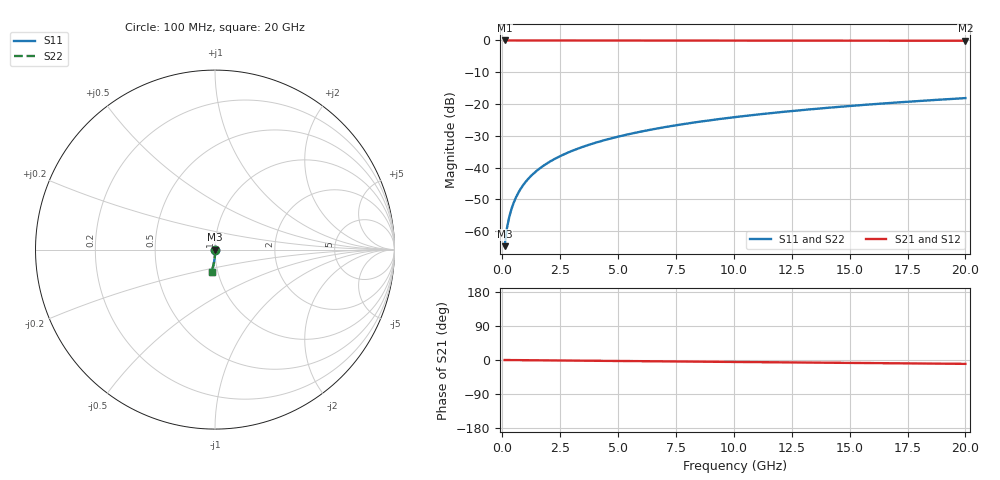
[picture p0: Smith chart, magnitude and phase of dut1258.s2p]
! Touchstone file exported from HFSS 2026.1.0
!  File:  C:/ffzhzh/LocalFiles/Ansys_Project_Files/temp_train_TSV_1258_1783193839_55132.aedt
!  Generated:  03:38:38 AM Jul  5, 2026
!  Design:  TSV
!  Project:  temp_train_TSV_1258_1783193839_55132
! Variables:
!  h_bsmrdl = 2um
!  h_ox = 20um
!  h_rdl = 5um
!  h_sub = 78.91um
!  h_tmrdl = 5um
!  h_tsv = 78.91um
!  h_via = 3um
!  l_bsmrdl = 300um
!  l_sub = 414.8um
!  l_tmrdl = 200um
!  m_sub = 200um
!  pitch = 17.01um
!  r_tsv = 7.4um
!  s_tmrdl = 10um
!  w_bsmrdl = 18um
!  w_sub = 500um
!  w_tmrdl = 12um
!  x_tsv_center1 = 206um
!  x_tsv_center2 = 524um
!  x_tsv_center3 = 736um
!  x_tsv_center4 = 1054um
!  x_tsv_center5 = 1266um
!  x_tsv_center6 = 1584um
# GHz S MA R 50.000000
! Terminal data exported
! Port[1] = TSV1_1_T1
! Port[2] = TSV1_1_T2
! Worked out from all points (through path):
!   200 points, 100 MHz to 20 GHz, reference 50 ohm
!   highest |S21| = 0.00 dB at 100 MHz (marker M1); lowest = -0.1 dB at 20 GHz (marker M2)
!   group delay of S21, straight-line fit = 1.41 ps
!   lowest |S11| = -64.7 dB at 100 MHz (marker M3), VSWR 1.00, Z = 50 - j0.0536 ohm
!   |S11| at or under -10 dB: start of sweep to end of sweep
!   |S22| runs from -64.7 to -18.1 dB; largest |S21 - S12| = 3.1e-15
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0.1  0.0005823 -67.0  0.9998 -0.1  0.9998 -0.1  0.0005823 -67.0
! Gamma 0 0 0 0
! Port Impedance 50 0 50 0
0.2  0.001114 -76.5  0.9997 -0.1  0.9997 -0.1  0.001114 -76.5
0.3  0.001677 -79.6  0.9997 -0.2  0.9997 -0.2  0.001677 -79.6
0.4  0.002259 -81.1  0.9996 -0.2  0.9996 -0.2  0.002259 -81.1
0.5  0.002856 -82.1  0.9996 -0.3  0.9996 -0.3  0.002856 -82.1
0.7  0.004073 -83.5  0.9995 -0.4  0.9995 -0.4  0.004073 -83.5
0.8  0.004688 -84.1  0.9995 -0.4  0.9995 -0.4  0.004688 -84.1
1  0.005921 -85.0  0.9994 -0.5  0.9994 -0.5  0.005921 -85.0
1.2  0.007156 -85.7  0.9994 -0.6  0.9994 -0.6  0.007156 -85.7
1.4  0.00839 -86.3  0.9993 -0.7  0.9993 -0.7  0.00839 -86.3
1.7  0.01024 -87.0  0.9993 -0.9  0.9993 -0.9  0.01024 -87.0
2  0.01209 -87.6  0.9992 -1.0  0.9992 -1.0  0.01209 -87.6
2.7  0.01641 -88.5  0.999 -1.4  0.999 -1.4  0.01641 -88.5
3.5  0.02137 -89.3  0.9988 -1.8  0.9988 -1.8  0.02137 -89.3
4.2  0.02572 -89.8  0.9986 -2.2  0.9986 -2.2  0.02572 -89.8
5  0.03071 -90.4  0.9984 -2.6  0.9984 -2.6  0.03071 -90.4
6.8  0.04197 -91.6  0.9977 -3.5  0.9977 -3.5  0.04197 -91.6
8.3  0.05136 -92.5  0.9971 -4.3  0.9971 -4.3  0.05136 -92.5
10.1  0.06263 -93.6  0.9963 -5.2  0.9963 -5.2  0.06263 -93.6
13.4  0.08321 -95.5  0.9945 -6.9  0.9945 -6.9  0.08321 -95.5
16.7  0.1037 -97.3  0.9923 -8.5  0.9923 -8.5  0.1037 -97.3
20  0.124 -99.0  0.9897 -10.2  0.9897 -10.2  0.124 -99.0
